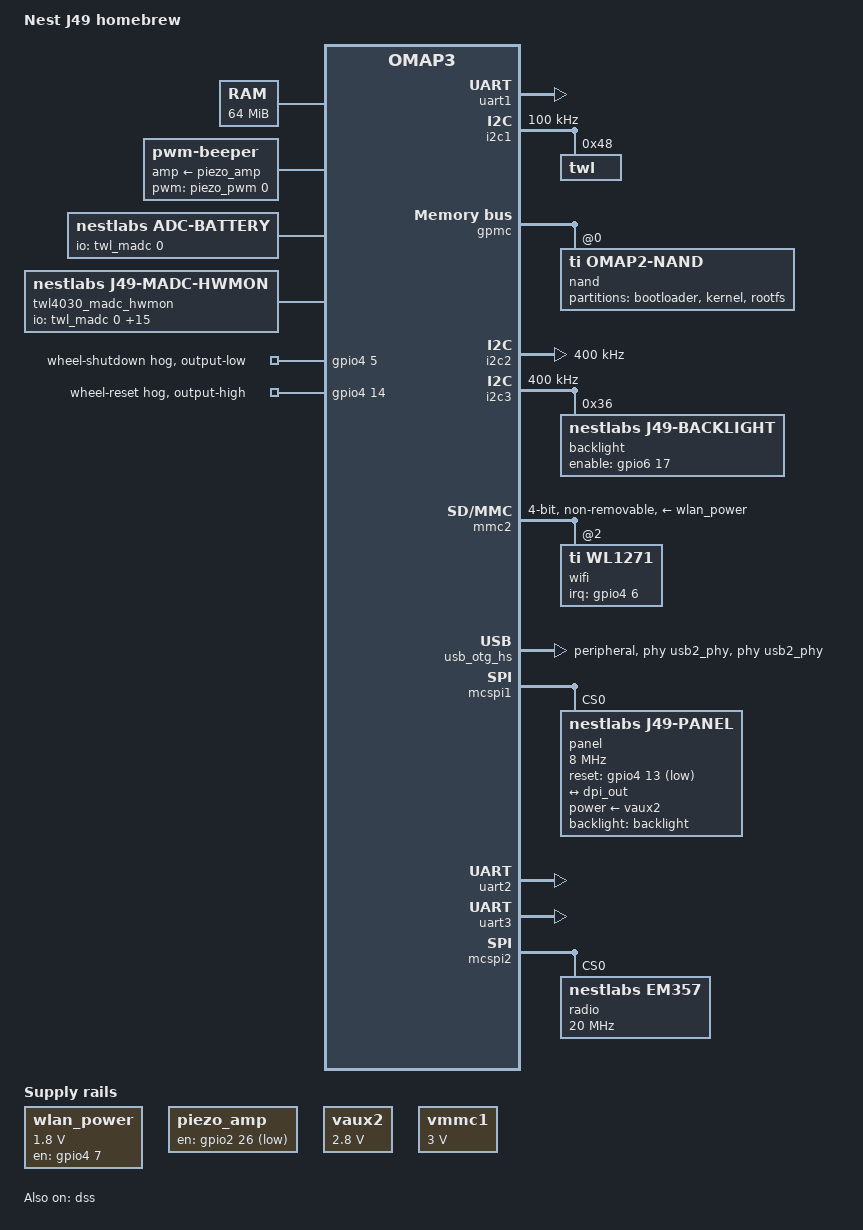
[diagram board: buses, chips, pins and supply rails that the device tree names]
/dts-v1/;
#include "omap36xx.dtsi"
#include <dt-bindings/input/input.h>
/ {
 model = "Nest J49 homebrew";
 compatible = "nestlabs,j49", "ti,omap3630", "ti,omap3";
 memory@80000000 { device_type = "memory"; reg = <0x80000000 0x04000000>; };
 chosen { stdout-path = &uart1; };
};
&uart1 { status = "okay"; };
&i2c1 {
 clock-frequency = <100000>;
 twl: twl@48 {
  reg = <0x48>;
  interrupts = <7>;
  interrupt-parent = <&intc>;
 };
};
#include "twl4030.dtsi"
&gpmc {
 ranges = <0 0 0x30000000 0x1000000>;
 nand@0,0 {
  compatible = "ti,omap2-nand";
  reg = <0 0 4>;
  nand-bus-width = <16>;
  ti,nand-ecc-opt = "bch4";
  ti,nand-xfer-type = "polled";
  gpmc,device-width = <2>;
  gpmc,cs-on-ns = <0>; gpmc,cs-rd-off-ns = <36>; gpmc,cs-wr-off-ns = <36>;
  gpmc,adv-on-ns = <6>; gpmc,adv-rd-off-ns = <24>; gpmc,adv-wr-off-ns = <36>;
  gpmc,oe-on-ns = <6>; gpmc,oe-off-ns = <48>; gpmc,we-on-ns = <6>; gpmc,we-off-ns = <30>;
  gpmc,rd-cycle-ns = <72>; gpmc,wr-cycle-ns = <72>; gpmc,access-ns = <54>; gpmc,wr-access-ns = <30>;
  partitions { compatible = "fixed-partitions"; #address-cells = <1>; #size-cells = <1>;
   partition@0 { label = "bootloader"; reg = <0 0x400000>; read-only; };
   partition@400000 { label = "kernel"; reg = <0x400000 0x800000>; };
   partition@c00000 { label = "rootfs"; reg = <0xc00000 0xf400000>; };
  };
 };
};

/ {
 aliases { display0 = &panel; };
 wlan_power: regulator-wlan {
  compatible = "regulator-fixed"; regulator-name = "wlan-power";
  regulator-min-microvolt = <1800000>; regulator-max-microvolt = <1800000>;
  gpio = <&gpio4 7 GPIO_ACTIVE_HIGH>; enable-active-high; startup-delay-us = <70000>;
 };
 piezo_amp: regulator-piezo {
  compatible = "regulator-fixed"; regulator-name = "piezo-amplifier";
  gpio = <&gpio2 26 GPIO_ACTIVE_LOW>;
 };
 piezo_pwm: pwm {
  compatible = "ti,omap-dmtimer-pwm"; ti,timers = <&timer11>;
  ti,clock-source = <0>; #pwm-cells = <3>;
 };
 beeper { compatible = "pwm-beeper"; pwms = <&piezo_pwm 0 1000000 0>; amp-supply = <&piezo_amp>; beeper-hz = <2000>; };

};
&gpio4 {
 wheel-shutdown { gpio-hog; gpios = <5 0>; output-low; line-name = "wheel-shutdown"; };
 wheel-reset { gpio-hog; gpios = <14 0>; output-high; line-name = "wheel-reset"; };
};
&vpll2 { regulator-always-on; };
&vaux2 { regulator-min-microvolt = <2800000>; regulator-max-microvolt = <2800000>; regulator-always-on; };
&i2c2 { clock-frequency = <400000>; status = "okay"; };
&i2c3 { clock-frequency = <400000>; status = "okay"; };
&mmc1 { status = "disabled"; };
&mmc2 {
 vmmc-supply = <&wlan_power>; bus-width = <4>; non-removable; cap-power-off-card;
 #address-cells = <1>; #size-cells = <0>; status = "okay";
 wifi@2 { compatible = "ti,wl1271"; reg = <2>; interrupt-parent = <&gpio4>;
  interrupts = <6 IRQ_TYPE_LEVEL_HIGH>; ref-clock-frequency = <26000000>;
 };
};
&dss { status = "okay"; port { dpi_out: endpoint { remote-endpoint = <&panel_in>; data-lines = <24>; }; }; };
&usb_otg_hs { mode = <2>; num-eps = <16>; ram-bits = <12>; dr_mode = "peripheral"; status = "okay"; };

&vmmc1 { regulator-min-microvolt = <3000000>; regulator-max-microvolt = <3000000>; regulator-always-on; };
/ { cpus { cpu@0 { cpu0-supply = <&vcc>; }; }; };

&mcspi1 {
 status = "okay";
 panel: panel@0 {
  compatible = "nestlabs,j49-panel"; reg = <0>;
  spi-max-frequency = <8000000>; spi-cpol; spi-cpha;
  reset-gpios = <&gpio4 13 GPIO_ACTIVE_LOW>;
  power-supply = <&vaux2>;
  backlight = <&backlight>;
  port { panel_in: endpoint { remote-endpoint = <&dpi_out>; }; };
 };
};
&i2c3 {
 backlight: backlight@36 {
  compatible = "nestlabs,j49-backlight"; reg = <0x36>;
  enable-gpios = <&gpio6 17 GPIO_ACTIVE_HIGH>;
 };
};

&omap3_pmx_core {
 pinctrl-names = "default"; pinctrl-0 = <&j49_pins &j49_io_pins>;
 j49_pins: j49-pins { pinctrl-single,pins = <
  OMAP3_CORE1_IOPAD(0x20d4, PIN_INPUT_PULLDOWN | MUX_MODE0) /* dss_pclk */
  OMAP3_CORE1_IOPAD(0x20d6, PIN_INPUT_PULLDOWN | MUX_MODE0) /* dss_hsync */
  OMAP3_CORE1_IOPAD(0x20d8, PIN_INPUT_PULLDOWN | MUX_MODE0) /* dss_vsync */
  OMAP3_CORE1_IOPAD(0x20da, PIN_INPUT_PULLDOWN | MUX_MODE0) /* dss_acbias */
  OMAP3_CORE1_IOPAD(0x20dc, PIN_INPUT_PULLDOWN | MUX_MODE0) /* dss_data0 */
  OMAP3_CORE1_IOPAD(0x20de, PIN_INPUT_PULLDOWN | MUX_MODE0) /* dss_data1 */
  OMAP3_CORE1_IOPAD(0x20e0, PIN_INPUT_PULLDOWN | MUX_MODE0) /* dss_data2 */
  OMAP3_CORE1_IOPAD(0x20e2, PIN_INPUT_PULLDOWN | MUX_MODE0) /* dss_data3 */
  OMAP3_CORE1_IOPAD(0x20e4, PIN_INPUT_PULLDOWN | MUX_MODE0) /* dss_data4 */
  OMAP3_CORE1_IOPAD(0x20e6, PIN_INPUT_PULLDOWN | MUX_MODE0) /* dss_data5 */
  OMAP3_CORE1_IOPAD(0x20e8, PIN_INPUT_PULLDOWN | MUX_MODE0) /* dss_data6 */
  OMAP3_CORE1_IOPAD(0x20ea, PIN_INPUT_PULLDOWN | MUX_MODE0) /* dss_data7 */
  OMAP3_CORE1_IOPAD(0x20ec, PIN_INPUT_PULLDOWN | MUX_MODE0) /* dss_data8 */
  OMAP3_CORE1_IOPAD(0x20ee, PIN_INPUT_PULLDOWN | MUX_MODE0) /* dss_data9 */
  OMAP3_CORE1_IOPAD(0x20f0, PIN_INPUT_PULLDOWN | MUX_MODE0) /* dss_data10 */
  OMAP3_CORE1_IOPAD(0x20f2, PIN_INPUT_PULLDOWN | MUX_MODE0) /* dss_data11 */
  OMAP3_CORE1_IOPAD(0x20f4, PIN_INPUT_PULLDOWN | MUX_MODE0) /* dss_data12 */
  OMAP3_CORE1_IOPAD(0x20f6, PIN_INPUT_PULLDOWN | MUX_MODE0) /* dss_data13 */
  OMAP3_CORE1_IOPAD(0x20f8, PIN_INPUT_PULLDOWN | MUX_MODE0) /* dss_data14 */
  OMAP3_CORE1_IOPAD(0x20fa, PIN_INPUT_PULLDOWN | MUX_MODE0) /* dss_data15 */
  OMAP3_CORE1_IOPAD(0x20fc, PIN_INPUT_PULLDOWN | MUX_MODE0) /* dss_data16 */
  OMAP3_CORE1_IOPAD(0x20fe, PIN_INPUT_PULLDOWN | MUX_MODE0) /* dss_data17 */
  OMAP3_CORE1_IOPAD(0x2100, PIN_INPUT_PULLDOWN | MUX_MODE0) /* dss_data18 */
  OMAP3_CORE1_IOPAD(0x2102, PIN_INPUT_PULLDOWN | MUX_MODE0) /* dss_data19 */
  OMAP3_CORE1_IOPAD(0x2104, PIN_INPUT_PULLDOWN | MUX_MODE0) /* dss_data20 */
  OMAP3_CORE1_IOPAD(0x2106, PIN_INPUT_PULLDOWN | MUX_MODE0) /* dss_data21 */
  OMAP3_CORE1_IOPAD(0x2108, PIN_INPUT_PULLDOWN | MUX_MODE0) /* dss_data22 */
  OMAP3_CORE1_IOPAD(0x210a, PIN_INPUT_PULLDOWN | MUX_MODE0) /* dss_data23 */
  OMAP3_CORE1_IOPAD(0x2158, PIN_INPUT_PULLUP | MUX_MODE0) /* sdmmc2_clk */
  OMAP3_CORE1_IOPAD(0x215a, PIN_INPUT_PULLUP | MUX_MODE0) /* sdmmc2_cmd */
  OMAP3_CORE1_IOPAD(0x215c, PIN_INPUT_PULLUP | MUX_MODE0) /* sdmmc2_dat0 */
  OMAP3_CORE1_IOPAD(0x215e, PIN_INPUT_PULLUP | MUX_MODE0) /* sdmmc2_dat1 */
  OMAP3_CORE1_IOPAD(0x2160, PIN_INPUT_PULLUP | MUX_MODE0) /* sdmmc2_dat2 */
  OMAP3_CORE1_IOPAD(0x2162, PIN_INPUT_PULLUP | MUX_MODE0) /* sdmmc2_dat3 */
  OMAP3_CORE1_IOPAD(0x21ba, PIN_INPUT_PULLUP | MUX_MODE0) /* i2c1_scl */
  OMAP3_CORE1_IOPAD(0x21bc, PIN_INPUT_PULLUP | MUX_MODE0) /* i2c1_sda */
  OMAP3_CORE1_IOPAD(0x21be, PIN_INPUT_PULLUP | MUX_MODE0) /* i2c2_scl */
  OMAP3_CORE1_IOPAD(0x21c0, PIN_INPUT_PULLUP | MUX_MODE0) /* i2c2_sda */
  OMAP3_CORE1_IOPAD(0x21c2, PIN_INPUT_PULLUP | MUX_MODE0) /* i2c3_scl */
  OMAP3_CORE1_IOPAD(0x21c4, PIN_INPUT_PULLUP | MUX_MODE0) /* i2c3_sda */
  OMAP3_CORE1_IOPAD(0x2182, PIN_INPUT_PULLUP | MUX_MODE0) /* uart1_rx */
  OMAP3_CORE1_IOPAD(0x217c, PIN_OUTPUT | MUX_MODE0) /* uart1_tx */
  OMAP3_CORE1_IOPAD(0x21c8, PIN_INPUT | MUX_MODE0) /* mcspi1_clk */
  OMAP3_CORE1_IOPAD(0x21ca, PIN_OUTPUT | MUX_MODE0) /* mcspi1_simo */
  OMAP3_CORE1_IOPAD(0x21cc, PIN_INPUT | MUX_MODE0) /* mcspi1_somi */
  OMAP3_CORE1_IOPAD(0x21ce, PIN_INPUT_PULLDOWN | MUX_MODE0) /* mcspi1_cs0 */
  OMAP3_CORE1_IOPAD(0x21d4, PIN_OUTPUT | MUX_MODE4) /* mcspi1_cs3 */
  OMAP3_CORE1_IOPAD(0x211a, PIN_OUTPUT | MUX_MODE4) /* cam_d2 */
  OMAP3_CORE1_IOPAD(0x211c, PIN_INPUT_PULLUP | MUX_MODE4) /* cam_d3 */
  OMAP3_CORE1_IOPAD(0x211e, PIN_OUTPUT | MUX_MODE4) /* cam_d4 */
  OMAP3_CORE1_IOPAD(0x2128, PIN_INPUT | MUX_MODE4) /* cam_d9 */
  OMAP3_CORE1_IOPAD(0x212a, PIN_OUTPUT | MUX_MODE4) /* cam_d10 */
  OMAP3_CORE1_IOPAD(0x212c, PIN_OUTPUT | MUX_MODE4) /* cam_d11 */
  OMAP3_CORE1_IOPAD(0x20ba, PIN_OUTPUT | MUX_MODE3) /* gpmc_ncs6 */
  OMAP3_CORE1_IOPAD(0x20bc, PIN_OUTPUT | MUX_MODE4) /* gpmc_ncs7 */
  OMAP3_CORE1_IOPAD(0x21e0, PIN_INPUT_PULLUP | MUX_MODE0) /* sys_nirq */
 >; };
};

&usb_otg_hs { interface-type = <0>; usb-phy = <&usb2_phy>; phys = <&usb2_phy>; phy-names = "usb2-phy"; power = <50>; };
&twl_keypad { status = "disabled"; };

&twl_madc { vusb3v1-supply = <&vusb3v1>; };
&charger { status = "disabled"; };
/ {
 battery {
  compatible = "nestlabs,adc-battery";
  io-channels = <&twl_madc 0>; io-channel-names = "voltage";
  divider-r1-ohm = <2>; divider-r2-ohm = <1>;
 };
 twl4030_madc_hwmon { compatible = "nestlabs,j49-madc-hwmon";
  io-channels = <&twl_madc 0>, <&twl_madc 1>, <&twl_madc 2>, <&twl_madc 3>,
                <&twl_madc 4>, <&twl_madc 5>, <&twl_madc 6>, <&twl_madc 7>,
                <&twl_madc 8>, <&twl_madc 9>, <&twl_madc 10>, <&twl_madc 11>,
                <&twl_madc 12>, <&twl_madc 13>, <&twl_madc 14>, <&twl_madc 15>;
 };
};

&uart2 { status = "okay"; };
&uart3 { status = "okay"; };
&mcspi2 {
 status = "okay";
 radio@0 { compatible = "nestlabs,em357"; reg = <0>; spi-max-frequency = <20000000>; };
};
/ {
 aliases { serial-sensormcu0 = &uart3; };
 diamond-backplate {
  compatible = "nestlabs,gpio-exporter";
  input-names = "detect#"; input-gpios = <&gpio3 1 GPIO_ACTIVE_LOW>;
  output-names = "reset"; output-gpios = <&gpio4 8 GPIO_ACTIVE_HIGH>;
 };
 diamond-zigbee {
  compatible = "nestlabs,gpio-exporter";
  input-names = "interrupt"; input-gpios = <&gpio6 22 GPIO_ACTIVE_LOW>;
  output-names = "reset#"; output-gpios = <&gpio2 29 GPIO_ACTIVE_LOW>;
 };
 board-inputs {
  compatible = "nestlabs,gpio-exporter";
  input-names = "lcd-id", "wheel-motion#";
  input-gpios = <&gpio4 9 GPIO_ACTIVE_HIGH>, <&gpio4 12 GPIO_ACTIVE_LOW>;
 };
 diamond-battery {
  compatible = "nestlabs,gpio-exporter";
  output-names = "disconnect"; output-gpios = <&gpio6 1 GPIO_ACTIVE_HIGH>;
 };
};
&omap3_pmx_core {
 j49_io_pins: j49-io-pins { pinctrl-single,pins = <
  OMAP3_CORE1_IOPAD(0x219e, PIN_INPUT | MUX_MODE0) /* uart3_rx */
  OMAP3_CORE1_IOPAD(0x21a0, PIN_OUTPUT | MUX_MODE0) /* uart3_tx */
  OMAP3_CORE1_IOPAD(0x21d6, PIN_INPUT | MUX_MODE0) /* mcspi2_clk */
  OMAP3_CORE1_IOPAD(0x21d8, PIN_OUTPUT | MUX_MODE0) /* mcspi2_simo */
  OMAP3_CORE1_IOPAD(0x21da, PIN_INPUT | MUX_MODE0) /* mcspi2_somi */
  OMAP3_CORE1_IOPAD(0x21dc, PIN_OUTPUT | MUX_MODE0) /* mcspi2_cs0 */
  OMAP3_CORE1_IOPAD(0x21de, PIN_INPUT | MUX_MODE4) /* gpio182 radio_irq */
  OMAP3_CORE1_IOPAD(0x20c8, PIN_OUTPUT | MUX_MODE4) /* gpio61 radio_reset */
  OMAP3_CORE1_IOPAD(0x20d2, PIN_INPUT_PULLUP | MUX_MODE4) /* gpio65 backplate_detect */
  OMAP3_CORE1_IOPAD(0x2120, PIN_OUTPUT | MUX_MODE4) /* gpio104 backplate_reset */
  OMAP3_CORE1_IOPAD(0x2122, PIN_INPUT_PULLUP | MUX_MODE4) /* gpio105 lcd_id */
  OMAP3_CORE1_IOPAD(0x2196, PIN_OUTPUT | MUX_MODE4) /* gpio161 battery_disconnect */
 >; };
};
